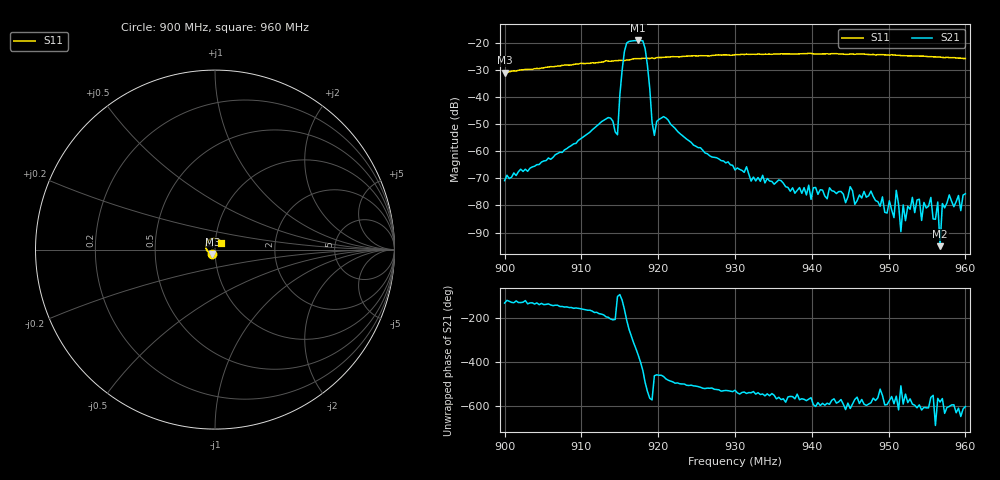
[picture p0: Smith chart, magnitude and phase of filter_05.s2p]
!File created by NanoVNA-F V2
# Hz S RI R 50
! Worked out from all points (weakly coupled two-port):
!   201 points, 900 MHz to 960 MHz, reference 50 ohm
!   highest |S21| = -18.98 dB at 917.4 MHz (marker M1); lowest = -95.0 dB at 956.7 MHz (marker M2)
!   lowest |S11| = -30.9 dB at 900 MHz (marker M3), VSWR 1.06, Z = 48.6 - j2.41 ohm
!   |S11| at or under -10 dB: start of sweep to end of sweep
!   S12 and S22 are empty: the file has one direction only
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9e8  -0.014 -0.0248  -0.000187 -0.000219  0 0  0 0
9.102e8  -0.0409 -0.0103  -0.00171 -0.000671  0 0  0 0
9.135e8  -0.0465 -0.00144  -0.00407 0.00114  0 0  0 0
9.147e8  -0.0477 0.00193  -0.00037 -0.002  0 0  0 0
9.15e8  -0.0483 0.00215  -0.000321 -0.0108  0 0  0 0
9.156e8  -0.0475 0.00481  -0.0659 -0.0251  0 0  0 0
9.174e8  -0.051 0.0105  0.1112 -0.0169  0 0  0 0
9.183e8  -0.0511 0.0128  -0.0545 -0.0577  0 0  0 0
9.195e8  -0.0494 0.0164  -0.000435 -0.00193  0 0  0 0
9.201e8  -0.0514 0.0183  -0.000715 -0.00384  0 0  0 0
9.3e8  -0.0402 0.0462  -0.000445 -8.7e-05  0 0  0 0
9.378e8  -0.0209 0.0596  -0.000149 7.9e-05  0 0  0 0
9.396e8  -0.0178 0.0624  -0.000207 0.000116  0 0  0 0
9.399e8  -0.0168 0.0626  -0.00012 5e-05  0 0  0 0
9.402e8  -0.0146 0.0618  -0.000124 0.000173  0 0  0 0
9.501e8  0.0144 0.0586  -9.8e-05 7.3e-05  0 0  0 0
9.507e8  0.0153 0.0585  -3.8e-05 4.6e-05  0 0  0 0
9.51e8  0.0169 0.0575  -0.000183 5.2e-05  0 0  0 0
9.516e8  0.0205 0.0555  -2.8e-05 -1.7e-05  0 0  0 0
9.567e8  0.029 0.0472  -1.3e-05 1.2e-05  0 0  0 0
9.594e8  0.0352 0.0396  2.6e-05 7.6e-05  0 0  0 0
9.6e8  0.0356 0.0383  -7.4e-05 0.000147  0 0  0 0
